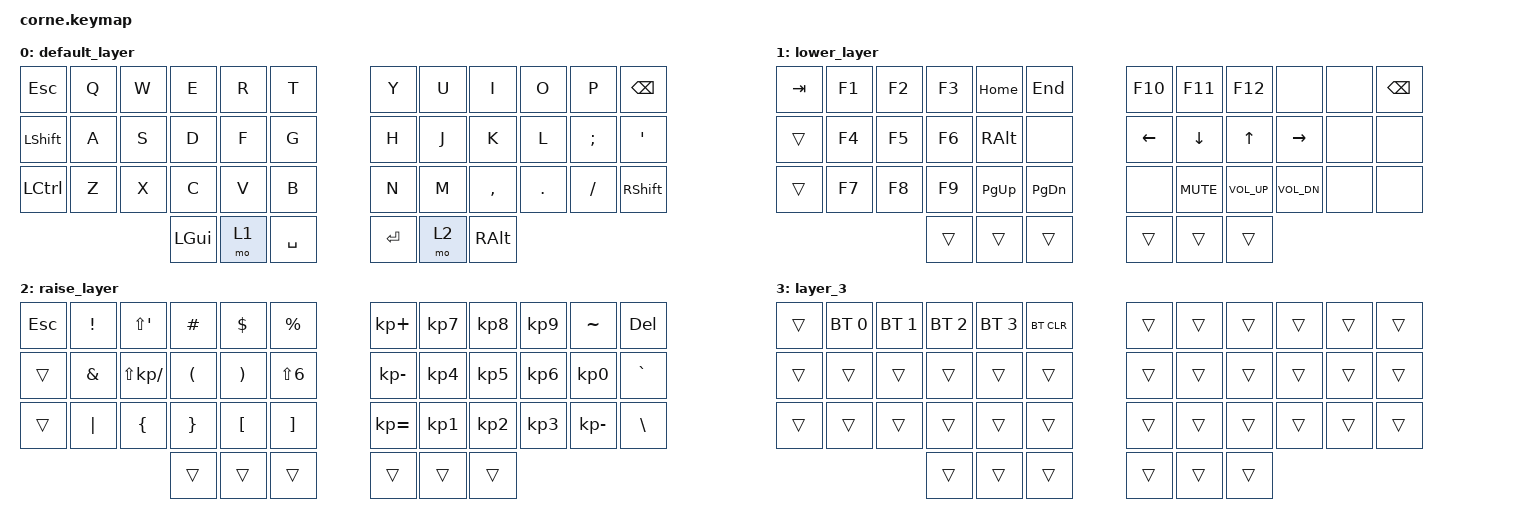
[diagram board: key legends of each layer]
#include <behaviors.dtsi>
#include <dt-bindings/zmk/bt.h>
#include <dt-bindings/zmk/keys.h>

/ {
    vbatt: vbatt {
        compatible = "zmk,battery-voltage-divider";
        label = "BATTERY";
        io-channels = <&adc 2>;
        output-ohms = <2000000>;
        full-ohms = <2806000>;
    };
    keymap {
        compatible = "zmk,keymap";

        default_layer {
            bindings = <
&kp ESC    &kp Q  &kp W  &kp E     &kp R  &kp T        &kp Y      &kp U  &kp I      &kp O    &kp P     &kp BSPC
&kp LSHFT  &kp A  &kp S  &kp D     &kp F  &kp G        &kp H      &kp J  &kp K      &kp L    &kp SEMI  &kp SQT
&kp LCTRL  &kp Z  &kp X  &kp C     &kp V  &kp B        &kp N      &kp M  &kp COMMA  &kp DOT  &kp FSLH  &kp RSHFT
                         &kp LGUI  &mo 1  &kp SPACE    &kp ENTER  &mo 2  &kp RALT
            >;
        };

        lower_layer {
            bindings = <
&kp TAB  &kp F1  &kp F2  &kp F3  &kp HOME   &kp END      &kp F10         &kp F11     &kp F12          &none         &none  &kp BSPC
&trans   &kp F4  &kp F5  &kp F6  &kp RALT   &none        &kp LEFT_ARROW  &kp DOWN    &kp UP_ARROW     &kp RIGHT     &none  &none
&trans   &kp F7  &kp F8  &kp F9  &kp PG_UP  &kp PG_DN    &none           &kp K_MUTE  &kp C_VOLUME_UP  &kp C_VOL_DN  &none  &none
                         &trans  &trans     &trans       &trans          &trans      &trans
            >;
        };

        raise_layer {
            bindings = <
&kp ESC  &kp EXCL  &kp LS(SQT)        &kp HASH         &kp DLLR          &kp PRCNT            &kp KP_PLUS   &kp KP_N7  &kp KP_N8  &kp KP_N9  &kp TILDE        &kp DELETE
&trans   &kp AMPS  &kp LS(KP_DIVIDE)  &kp LPAR         &kp RPAR          &kp LS(NUMBER_6)     &kp KP_MINUS  &kp KP_N4  &kp KP_N5  &kp KP_N6  &kp KP_NUMBER_0  &kp GRAVE
&trans   &kp PIPE  &kp LBRC           &kp RIGHT_BRACE  &kp LEFT_BRACKET  &kp RIGHT_BRACKET    &kp KP_EQUAL  &kp KP_N1  &kp KP_N2  &kp KP_N3  &kp KP_MINUS     &kp BACKSLASH
                                      &trans           &trans            &trans               &trans        &trans     &trans
            >;
        };

        layer_3 {
            bindings = <
&trans  &bt BT_SEL 0  &bt BT_SEL 1  &bt BT_SEL 2  &bt BT_SEL 3  &bt BT_CLR    &trans  &trans  &trans  &trans  &trans  &trans
&trans  &trans        &trans        &trans        &trans        &trans        &trans  &trans  &trans  &trans  &trans  &trans
&trans  &trans        &trans        &trans        &trans        &trans        &trans  &trans  &trans  &trans  &trans  &trans
                                    &trans        &trans        &trans        &trans  &trans  &trans
            >;
        };
    };

    conditional_layers {
        compatible = "zmk,conditional-layers";

        bluetooth {
            if-layers = <1 2>;
            then-layer = <3>;
        };
    };
};
